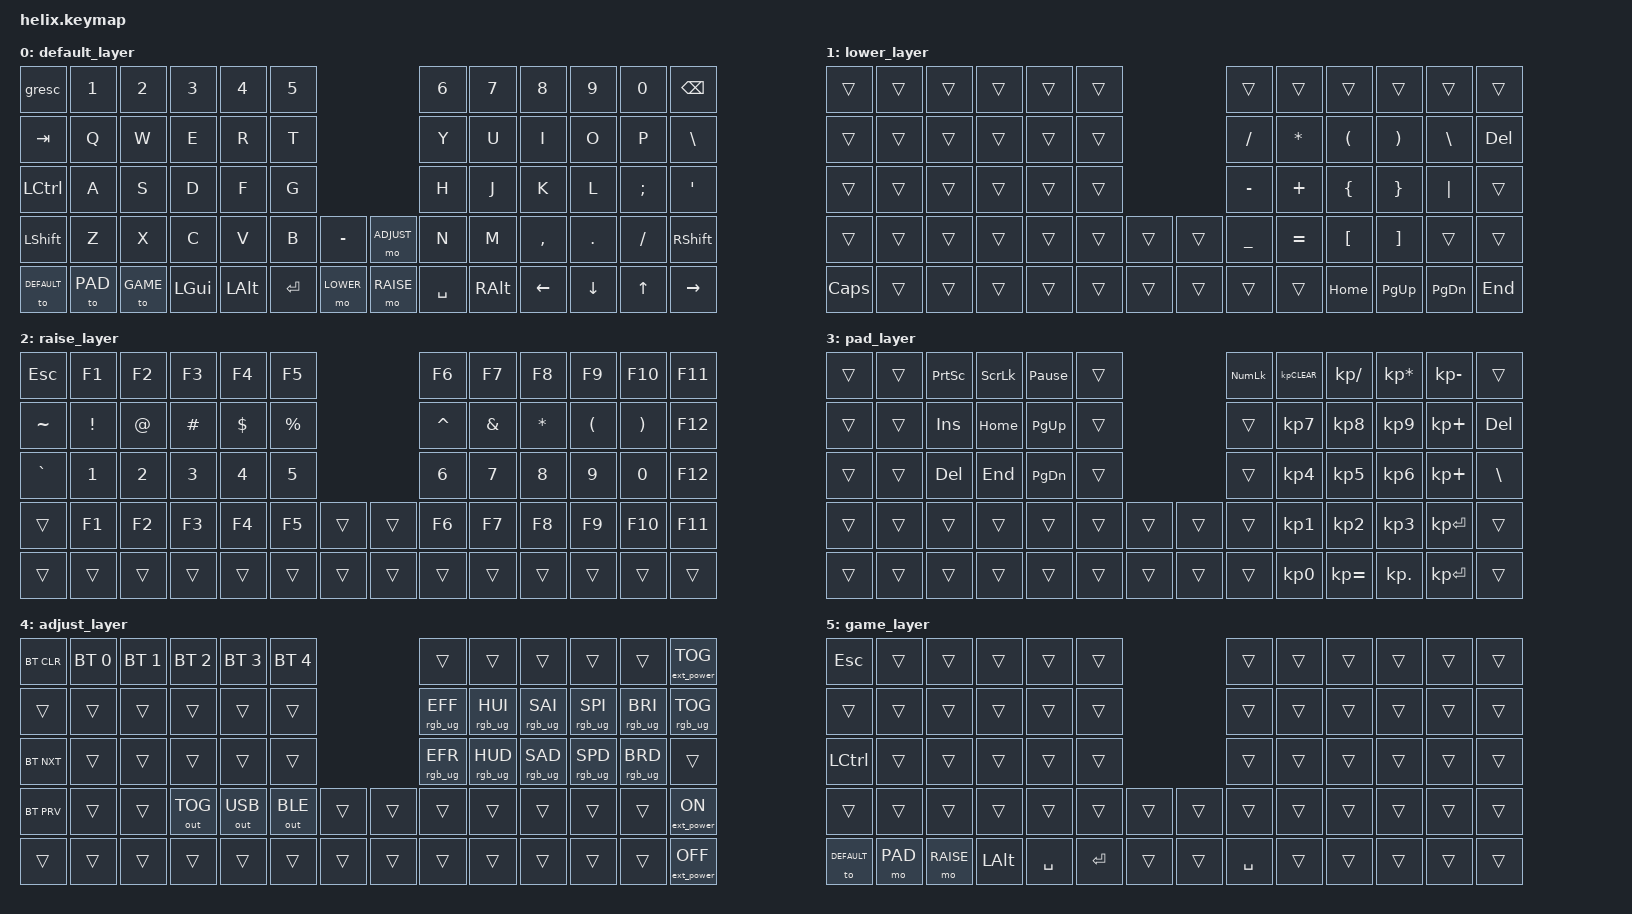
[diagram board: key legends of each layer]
/*
 * Copyright (c) 2020 The ZMK Contributors
 *
 * SPDX-License-Identifier: MIT
 */

 #include <behaviors.dtsi>
 #include <dt-bindings/zmk/keys.h>
 #include <dt-bindings/zmk/bt.h>
 #include <dt-bindings/zmk/rgb.h>
 #include <dt-bindings/zmk/ext_power.h>
 #include <dt-bindings/zmk/outputs.h>

 #define DEFAULT 0
 #define LOWER  1
 #define RAISE  2
 #define PAD    3
 #define ADJUST 4
 #define GAME   5

/* NOTE: At the time of the creation of this keymap, there are no specified codes for 'eisuu' and 'kana' input in ZMK.
However, 'LANG1' and 'LANG2' are fully-functioning candidates for 'kana' and 'eisuu' input respectively.
As such, those are in use within the default layer at this time.*/

/ {
       keymap {
              compatible = "zmk,keymap";
 
              default_layer {
 // ----------------------------------------------------------------------------------------------------------------------------------------------------
 // | GRESC  |   1    |   2    |   3    |   4    |   5    |                                      |   6    |   7    |   8    |   9    |   0    |  BSPC   |
 // |  TAB   |   Q    |   W    |   E    |   R    |   T    |                                      |   Y    |   U    |   I    |   O    |   P    |   \     |
 // |  CTL   |   A    |   S    |   D    |   F    |   G    |                                      |   H    |   J    |   K    |   L    |   ;    |   '     |
 // |  SHIFT |   Z    |   X    |   C    |   V    |   B    |   -    |                    |   =    |   N    |   M    |   ,    |   .    |   /    |  RSHIFT |
 // | ADJUST |  PAD   |        |  LGUI  |  LALT  | ENTER  | LOWER  |                    |  RAISE | SPACE  |  RALT  |  LEFT  |  DOWN  |  UP    |  RIGHT  |
                     bindings = <
       &gresc          &kp N1  &kp N2     &kp N3   &kp N4    &kp N5                               &kp N6    &kp N7    &kp N8    &kp N9     &kp N0    &kp BSPC
       &kp TAB         &kp Q   &kp W      &kp E    &kp R     &kp T                                &kp Y     &kp U     &kp I     &kp O      &kp P     &kp BSLH
       &kp LCTRL       &kp A   &kp S      &kp D    &kp F     &kp G                                &kp H     &kp J     &kp K     &kp L      &kp SEMI  &kp SQT
       &kp LSHFT       &kp Z   &kp X      &kp C    &kp V     &kp B    &kp MINUS        &mo ADJUST &kp N     &kp M     &kp COMMA &kp PERIOD &kp SLASH &kp RSHIFT
       &to DEFAULT     &to PAD &to GAME   &kp LGUI &kp LALT  &kp RET  &mo LOWER        &mo RAISE  &kp SPACE &kp RALT  &kp LEFT  &kp DOWN   &kp UP    &kp RIGHT
                     >;
              };
              lower_layer {
 // -------------------------------------------------------------------------------------------------------------------------
 // |       |      |      |      |      |      |                                  |      |      |      |      |      |      |
 // |       |      |      |      |      |      |                                  |  /   |  *   |  (   |  )   |  \   | DEL  |
 // |       |      |      |      |      |      |                                  |  -   |  +   |  {   |  }   |  |   |      |
 // |       |      |      |      |      |      |      |                    |      |  _   |  =   |  [   |  ]   |  /   |      |
 // | CAPS  |      |      |      |      |      |      |                    |      |      |      | HOME | PGUP | PGDN | END  |
                     bindings = <
       &trans    &trans   &trans &trans   &trans   &trans                             &trans    &trans    &trans    &trans   &trans    &trans
       &trans    &trans   &trans &trans   &trans   &trans                             &kp SLASH &kp ASTRK &kp LPAR &kp RPAR  &kp BSLH  &kp DEL
       &trans    &trans   &trans &trans   &trans   &trans                             &kp MINUS &kp PLUS  &kp LBRC &kp RBRC  &kp PIPE  &trans
       &trans    &trans   &trans &trans   &trans   &trans    &trans          &trans   &kp UNDER &kp EQUAL &kp LBKT &kp RBKT  &trans    &trans
       &kp CAPS  &trans   &trans &trans   &trans   &trans    &trans          &trans   &trans    &trans    &kp HOME &kp PG_UP &kp PG_DN &kp END
                     >;
              };
              raise_layer {
 // --------------------------------------------------------------------------------------------------------------------------------------
 // |  ESC  |  F1   |  F2   |  F3   |  F4   |  F5   |                                    |  F6   |  F7   |  F8   |  F9   |  F10  |  F11  |
 // |   ~   |   !   |   @   |   #   |   $   |   %   |                                    |   ^   |   &   |   *   |   (   |   )   |  F12  |
 // |   `   |   1   |   2   |   3   |   4   |   5   |                                    |   6   |   7   |   8   |   9   |   0   |  F12  |
 // |       |  F1   |  F2   |  F3   |  F4   |  F5   |                                    |  F6   |  F7   |  F8   |  F9   |  F10  |  F11  |
 // |       |       |       |       |       |       |       |                    |       |       |       |       |       |       |       |
                     bindings = <
       &kp ESC   &kp F1   &kp F2   &kp F3   &kp F4    &kp F5                            &kp F6    &kp F7    &kp F8     &kp F9       &kp F10      &kp F11
       &kp TILDE &kp EXCL &kp AT   &kp HASH &kp DLLR  &kp PRCNT                         &kp CARET &kp AMPS  &kp ASTRK  &kp LPAR     &kp RPAR     &kp F12
       &kp GRAVE &kp N1   &kp N2   &kp N3   &kp N4    &kp N5                            &kp N6    &kp N7    &kp N8     &kp N9       &kp N0       &kp F12
       &trans    &kp F1   &kp F2   &kp F3   &kp F4    &kp F5     &trans        &trans   &kp F6    &kp F7    &kp F8     &kp F9       &kp F10      &kp F11
       &trans    &trans   &trans   &trans   &trans    &trans     &trans        &trans   &trans    &trans    &trans     &trans       &trans       &trans
                     >;
              };
              pad_layer {
 // ---------------------------------------------------------------------------------------------------------------------------------
 // |       |       | PRTSC | SCRLL | PAUSE |       |                                    | NLCK  |  CLR  |   /   |   *   |   -   |       |
 // |       |       |  INS  |  HOME |  PGUP |       |                                    |       |   7   |   8   |   9   |   +   |  DEL  |
 // |       |       |  DEL  |  END  |  PGDN |       |                                    |       |   4   |   5   |   6   |   +   |   \   |
 // |       |       |       |       |       |       |       |                    |       |       |   1   |   2   |   3   | ENTER |       |
 // |       |       |       |       |       |       |       |                    |       |       |   0   |   =   |   .   | ENTER |       |
                     bindings = <
       &trans  &trans  &kp PSCRN  &kp SLCK  &kp PAUSE_BREAK &trans                  &kp KP_NLCK  &kp KP_CLEAR  &kp KP_DIVIDE  &kp KP_MULTIPLY  &kp KP_MINUS  &trans
       &trans  &trans  &kp INS    &kp HOME  &kp PG_UP  &trans                       &trans       &kp KP_N7     &kp KP_N8      &kp KP_N9        &kp KP_PLUS   &kp DEL
       &trans  &trans  &kp DEL    &kp END   &kp PG_DN  &trans                       &trans       &kp KP_N4     &kp KP_N5      &kp KP_N6        &kp KP_PLUS   &kp BSLH
       &trans  &trans  &trans     &trans    &trans     &trans  &trans        &trans &trans       &kp KP_N1     &kp KP_N2      &kp KP_N3        &kp KP_ENTER  &trans
       &trans  &trans  &trans     &trans    &trans     &trans  &trans        &trans &trans       &kp KP_N0     &kp KP_EQUAL   &kp KP_DOT       &kp KP_ENTER  &trans
                     >;
              };
              adjust_layer {
 // ---------------------------------------------------------------------------------------------------------------------------------
 // |  BT CLR  | BT SEL0  | BT SEL1  | BT SEL2  | BGT SEL3 | BT SEL4  |                                          |          |          |          |          |          |  EP TOG  |
 // |          |          |          |          |          |          |                                          | RGB EFF+ | RGB HUE+ | RGB SAT+ | RGB SPD+ | RGB BRI+ | RGB TOG  |
 // |  BT NXT  |          |          |          |          |          |                                          | RGB EFF- | RGB HUE- | RGB SAT- | RGB SPD- | RGB BRI- |          |
 // |  BT PRV  |          |          | OUT TOG  | OUT USB  | OUT BLE  |          |                    |          |          |          |          |          |          |  EP ON   |
 // |          |          |          |          |          |          |          |                    |          |          |          |          |          |          |  EP OFF  |
                     bindings = <
       &bt BT_CLR &bt BT_SEL 0 &bt BT_SEL 1 &bt BT_SEL 2 &bt BT_SEL 3 &bt BT_SEL 4                          &trans          &trans          &trans          &trans          &trans          &ext_power EP_TOG
       &trans     &trans       &trans       &trans       &trans       &trans                                &rgb_ug RGB_EFF &rgb_ug RGB_HUI &rgb_ug RGB_SAI &rgb_ug RGB_SPI &rgb_ug RGB_BRI &rgb_ug RGB_TOG 
       &bt BT_NXT &trans       &trans       &trans       &trans       &trans                                &rgb_ug RGB_EFR &rgb_ug RGB_HUD &rgb_ug RGB_SAD &rgb_ug RGB_SPD &rgb_ug RGB_BRD &trans
       &bt BT_PRV &trans       &trans       &out OUT_TOG &out OUT_USB &out OUT_BLE &trans          &trans   &trans          &trans          &trans          &trans          &trans          &ext_power EP_ON
       &trans     &trans       &trans       &trans       &trans       &trans       &trans          &trans   &trans          &trans          &trans          &trans          &trans          &ext_power EP_OFF
                     >;
              };
              game_layer {
 // ---------------------------------------------------------------------------------------------------------------------------------
 // |  ESC     |          |          |          |          |          |                                          |          |          |          |          |          |          |
 // |          |          |          |          |          |          |                                          |          |          |          |          |          |          |
 // |          |          |          |          |          |          |                                          |          |          |          |          |          |          |
 // |          |          |          |          |          |          |          |                    |          |          |          |          |          |          |          |
 // |          |          |          |   LALT   |  SPACE   |          |          |                    |          |          |          |          |          |          |          |
                      bindings = <
       &kp ESC    &trans       &trans       &trans       &trans       &trans                                &trans          &trans          &trans          &trans          &trans          &trans
       &trans     &trans       &trans       &trans       &trans       &trans                                &trans          &trans          &trans          &trans          &trans          &trans
       &kp LCTRL  &trans       &trans       &trans       &trans       &trans                                &trans          &trans          &trans          &trans          &trans          &trans
       &trans     &trans       &trans       &trans       &trans       &trans       &trans          &trans   &trans          &trans          &trans          &trans          &trans          &trans
       &to DEFAULT &mo PAD     &mo RAISE    &kp LALT     &kp SPACE    &kp RETURN   &trans          &trans   &kp SPACE       &trans          &trans          &trans          &trans          &trans
                     >;
              };
       };
};

 // Empty Template
 // ---------------------------------------------------------------------------------------------------------------------------------
 // |          |          |          |          |          |          |                                          |          |          |          |          |          |          |
 // |          |          |          |          |          |          |                                          |          |          |          |          |          |          |
 // |          |          |          |          |          |          |                                          |          |          |          |          |          |          |
 // |          |          |          |          |          |          |          |                    |          |          |          |          |          |          |          |
 // |          |          |          |          |          |          |          |                    |          |          |          |          |          |          |          |

